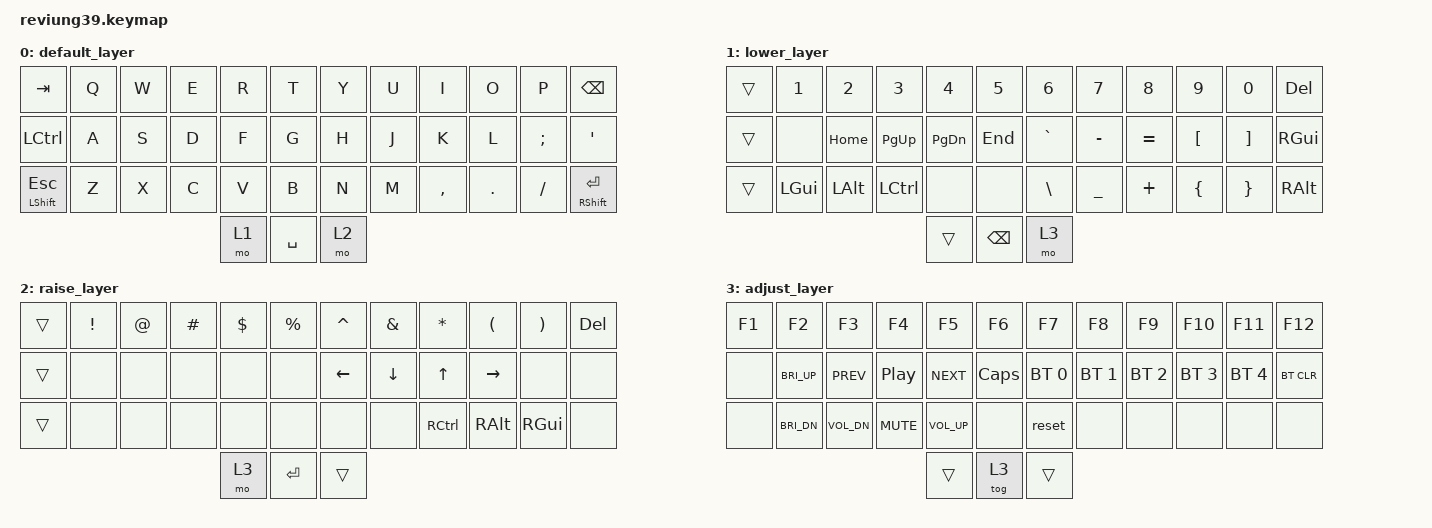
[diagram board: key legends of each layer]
/*
 * Copyright (c) 2020 The ZMK Contributors
 *
 * SPDX-License-Identifier: MIT
 */

#include <behaviors.dtsi>
#include <dt-bindings/zmk/keys.h>
#include <dt-bindings/zmk/bt.h>
#include <dt-bindings/zmk/rgb.h>

/ {
        keymap {
                compatible = "zmk,keymap";

                default_layer {
// -----------------------------------------------------------------------------------------
// | TAB      |  Q  |  W  |  E  |  R  |  T  |   |  Y  |  U   |  I  |  O  |  P  |   BKSP    |
// | CTRL     |  A  |  S  |  D  |  F  |  G  |   |  H  |  J   |  K  |  L  |  ;  |    '      |
// | SHFT(ESC)|  Z  |  X  |  C  |  V  |  B  |   |  N  |  M   |  ,  |  .  |  /  | SHFT(RET) |
//                                     LWR | SPC | RSE               
                        bindings = <
   &kp TAB       &kp Q &kp W &kp E &kp R &kp T   &kp Y &kp U  &kp I     &kp O   &kp P    &kp BSPC
   &kp LCTRL     &kp A &kp S &kp D &kp F &kp G   &kp H &kp J  &kp K     &kp L   &kp SEMI &kp SQT
   &mt LSHFT ESC &kp Z &kp X &kp C &kp V &kp B   &kp N &kp M  &kp COMMA &kp DOT &kp FSLH &mt RSHFT RET
                                  &mo 1 &kp SPACE &mo 2
                        >;
                };

                lower_layer {
// ----------------------------------------------------------------------------------
// | TAB      |  1  |  2  |  3  |  4  |  5  |   |  6  |  7  |  8  |  9  |  0  | DEL |
// | CTRL     |     | HOME| PGUP| PGDN| END |   |  `  |  -  |  =  |  [  |  ]  | GUI |
// | SHFT(ESC)| GUI | ALT | CTRL|     |     |   |  \  |  _  |  +  |  {  |  }  | ALT |
//                                   | ADJ | BKSP |    |
                        bindings = <
   &trans &kp N1    &kp N2    &kp N3    &kp N4    &kp N5        &kp N6    &kp N7    &kp N8    &kp N9    &kp N0    &kp DEL
   &trans &none     &kp HOME  &kp PG_UP &kp PG_DN &kp END       &kp GRAVE &kp MINUS &kp EQUAL &kp LBKT  &kp RBKT  &kp RGUI
   &trans &kp LGUI  &kp LALT  &kp LCTRL &none     &none         &kp BSLH  &kp UNDER &kp PLUS  &kp LBRC  &kp RBRC  &kp RALT
                                             &trans       &kp BKSP        &mo 3
                        >;
                };
                
                raise_layer {
// ----------------------------------------------------------------------------------
// | TAB      |  !  |  @  |  #  |  $  |  %  |   |  ^  |  &  |  *  |  (  |  )  | DEL |
// | CTRL     |     |     |     |     |     |   | LFT | DWN |  UP | RGT |     |     |
// | SHFT(ESC)|     |     |     |     |     |   |     |     | CTRL| ALT | GUI |     |
//                                   |     | RET | ADJ |
                        bindings = <
   &trans &kp EXCL  &kp AT      &kp HASH &kp DLLR &kp PRCNT      &kp CARET &kp AMPS &kp STAR  &kp LPAR  &kp RPAR  &kp DEL
   &trans &none     &none       &none    &none    &none          &kp LEFT  &kp DOWN &kp UP    &kp RIGHT &none     &none
   &trans &none     &none       &none    &none    &none          &none     &none    &kp RCTRL &kp RALT  &kp RGUI  &none
                                            &mo 3       &kp RET         &trans
                        >;
                };

                adjust_layer {
// -------------------------------------------------------------------------------
// | F1 | F2  | F3  | F4   | F5  | F6  |   | F7   | F8  | F9  | F10 | F11 | F12  |
// |    | BRI+| BACK| PL/PS| FWD | CAPS|   | BT1  | BT2 | BT3 | BT4 | BT5 | BTCLR|
// |    | BRI-| VOL-| MUTE | VOL+|     |   | RESET|     |     |     |     |      |
//                              |     |     |     |
                        bindings = <
   &kp F1          &kp F2          &kp F3          &kp F4          &kp F5        &kp F6      &kp F7       &kp F8       &kp F9       &kp F10      &kp F11      &kp F12
   &none           &kp C_BRI_UP    &kp C_PREV      &kp C_PP        &kp C_NEXT    &kp CAPS    &bt BT_SEL 0 &bt BT_SEL 1 &bt BT_SEL 2 &bt BT_SEL 3 &bt BT_SEL 4 &bt BT_CLR
   &none           &kp C_BRI_DN    &kp C_VOL_DN    &kp C_MUTE      &kp C_VOL_UP  &none       &reset       &none        &none        &none        &none        &none
                                                                      &trans       &tog 3        &trans
                        >;
                };
        };
};
